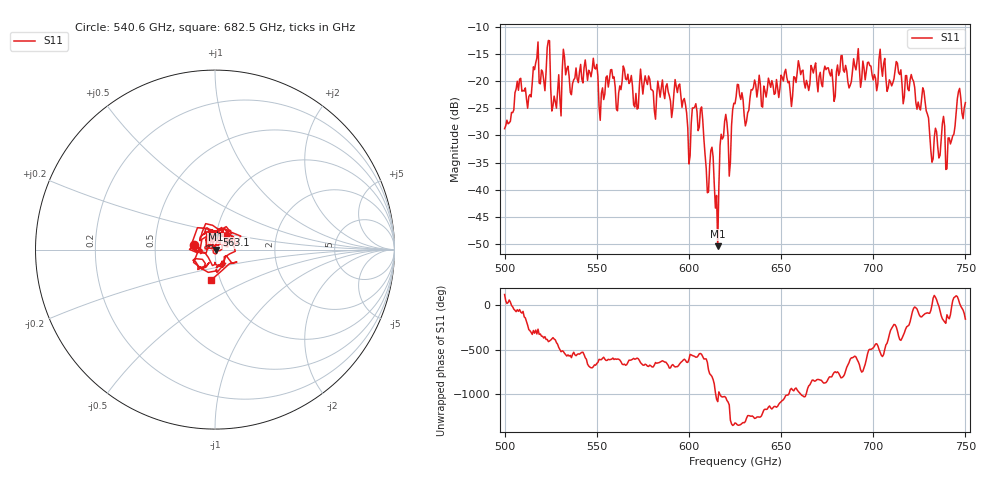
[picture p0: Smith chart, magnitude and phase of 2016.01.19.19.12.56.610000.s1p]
!Created with skrf (http://scikit-rf.org).
# GHz S RI R 50.0
!freq ReS11 ImS11
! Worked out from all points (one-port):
!   401 points, 500 GHz to 750 GHz, reference 50 ohm
!   lowest |S11| = -50.3 dB at 615.6 GHz (marker M1), VSWR 1.01, Z = 50.3 - j0.0198 ohm
!   |S11| at or under -10 dB: start of sweep to end of sweep
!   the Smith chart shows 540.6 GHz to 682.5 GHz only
!   S11 on the Smith chart (normalised r, x): 540.6 GHz: 0.79, +0.04; 563.1 GHz: 1.00, +0.17; 682.5 GHz: 0.91, -0.32
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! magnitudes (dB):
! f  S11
! 500 GHz  -28.7
! 507.5 GHz  -21.7
! 513.1 GHz  -22.8
! 516.9 GHz  -16.6
! 523.8 GHz  -12.5
! 526.9 GHz  -22.8
! 531.2 GHz  -18.0
! 540.6 GHz  -18.3
! 562.5 GHz  -20.9
! 563.1 GHz  -21.6
! 593.8 GHz  -22.1
! 600 GHz  -35.2
! 606.9 GHz  -24.7
! 609.4 GHz  -36.0
! 612.5 GHz  -32.2
! 615.6 GHz  -50.3
! 618.1 GHz  -30.6
! 622.5 GHz  -34.9
! 625 GHz  -24.2
! 656.2 GHz  -22.7
! 682.5 GHz  -15.4
! 687.5 GHz  -20.8
! 718.8 GHz  -21.5
! 728.1 GHz  -23.8
! 731.9 GHz  -34.9
! 740.6 GHz  -30.5
! 746.2 GHz  -21.9
! 750 GHz  -24.0
